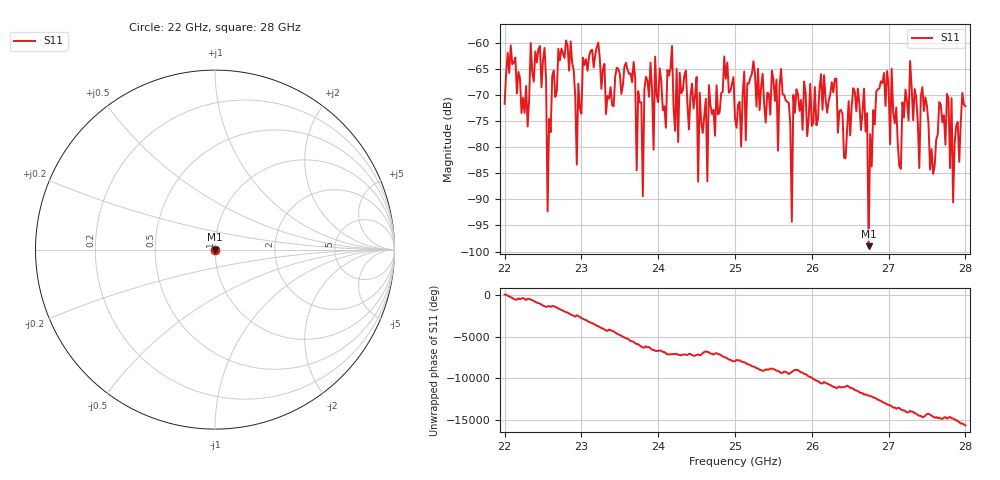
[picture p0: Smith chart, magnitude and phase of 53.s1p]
#  HZ  S  RI  R  50.00
! Rohde & Schwarz ZVA40 4Ports - Version 3.90 - 1145.1110k42 SN: 100403
! Date: 2023-10-04 07:52:47
! Measurement: S12
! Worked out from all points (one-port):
!   301 points, 22 GHz to 28 GHz, reference 50 ohm
!   lowest |S11| = -99.0 dB at 26.74 GHz (marker M1), VSWR 1.00, Z = 50 + j0.000444 ohm
!   |S11| at or under -10 dB: start of sweep to end of sweep
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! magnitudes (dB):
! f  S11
! 22 GHz  -71.7
! 22.52 GHz  -61.0
! 22.56 GHz  -92.3
! 22.76 GHz  -62.1
! 22.86 GHz  -59.8
! 22.94 GHz  -83.4
! 23.02 GHz  -62.9
! 23.5 GHz  -66.0
! 23.8 GHz  -89.4
! 23.9 GHz  -63.9
! 23.94 GHz  -80.5
! 23.96 GHz  -62.7
! 24.1 GHz  -76.3
! 24.18 GHz  -60.7
! 24.26 GHz  -79.1
! 24.28 GHz  -65.8
! 24.5 GHz  -66.6
! 24.52 GHz  -86.6
! 24.86 GHz  -62.7
! 25 GHz  -74.5
! 25.76 GHz  -70.0
! 26.5 GHz  -77.8
! 26.74 GHz  -99.0
! 26.94 GHz  -65.8
! 27.02 GHz  -79.5
! 27.04 GHz  -65.0
! 27.26 GHz  -74.9
! 28 GHz  -72.2
